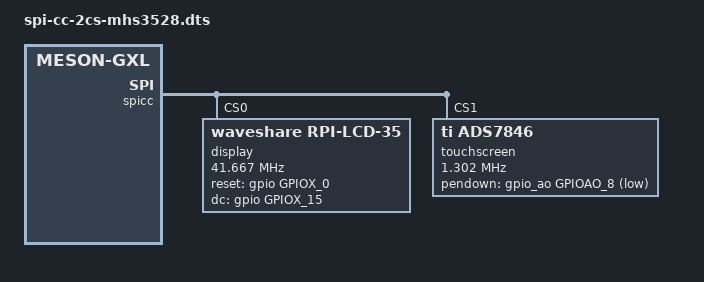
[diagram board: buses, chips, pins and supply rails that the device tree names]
// SPDX-License-Identifier: (GPL-2.0-or-later OR MIT)
/*
 * Copyright (c) 2022 Da Xue
 * Author: Da Xue <da@libre.computer>
 */
/*
 * Summary: spi-cc-2cs-mhs3528
 *
 * Pins (Header.Pin  Name  Pad  Ref — cross-ref gpio.map):
 *   7J1.11   GPIOAO_8*     F17     I2SOUT-CH23
 *   7J1.18   GPIOX_15      C7      UART_A_RTS_N
 *   7J1.22   GPIOX_0       A2      WIFI_SD_D0
 *
 * Requires: spi-cc-2cs
 *
 * Notes:
 * Display stack: tinydrm (DRM tiny / panel) preferred; staging fbtft is the
 * legacy fallback when both are built. Compatible order is tinydrm-first.
 * Properties tagged "fbtft/legacy" are ignored by tinydrm (CONFIG_FB_TFT_* only).
 */
/dts-v1/;
/plugin/;

#include <dt-bindings/gpio/gpio.h>
#include <dt-bindings/gpio/meson-gxl-gpio.h>
#include <dt-bindings/interrupt-controller/irq.h>
#include <dt-bindings/interrupt-controller/amlogic,meson-gxl-gpio-intc.h>

/ {
	compatible = "libre-computer,aml-s905x-cc",
		"libretech,aml-s905x-cc",
		"libre-computer,aml-s905x-cc-v2",
		"libretech,aml-s905x-cc-v2",
		"libre-computer,aml-s905x-cc-v3",
		"libretech,aml-s905x-cc-v3",
		"amlogic,s905x",
		"amlogic,meson-gxl";

	fragment@0 {
		target = <&cec_AO>;
		
		__overlay__ {
			status = "disabled";
		};
	};
	
	fragment@1 {
		target = <&pinctrl_aobus>;

		__overlay__ {
			xpt2046_pendown_pins: xpt2046-pendown-pins {
				mux {
					groups = "GPIOAO_8";
					function = "gpio_aobus";
					bias-pull-up;
					output-disable;
				};
			};
		};
	};

	fragment@2 {
		target = <&spicc>;
		
		__overlay__ {

			display@0 {
				compatible = "waveshare,rpi-lcd-35",	/* tinydrm: drm/tiny/ili9486 */
					"ilitek,ili9486";	/* fbtft/legacy: staging/fbtft/fb_ili9486 */
				reg = <0>;
				spi-max-frequency = <41666666>;
				reset-gpios = <&gpio GPIOX_0 GPIO_ACTIVE_HIGH>;
				dc-gpios = <&gpio GPIOX_15 GPIO_ACTIVE_HIGH>;
				status = "okay";
			};

			touchscreen@1 {
				compatible = "ti,ads7846";
				/*
				 * GPIOAO_8 is explicitly muxed to GPIO (gpio_aobus,
				 * function 0) by fragment@1 so pendown-gpio and the
				 * gpio_intc edge below do not depend on whatever mux
				 * the bootloader happened to leave. Selecting
				 * function 0 also clears the cec_ao bit on this pad,
				 * the function fragment@0 disables to free the pin.
				 */
				pinctrl-names = "default";
				pinctrl-0 = <&xpt2046_pendown_pins>;
				reg = <1>;
				spi-max-frequency = <1302084>;
				interrupt-parent = <&gpio_intc>;
				interrupts = <IRQID_GPIOAO_8 IRQ_TYPE_EDGE_FALLING>;
				pendown-gpio = <&gpio_ao GPIOAO_8 GPIO_ACTIVE_LOW>;
				ti,x-plate-ohms = /bits/ 16 <60>;
				ti,pressure-max = /bits/ 16 <255>;
				touchscreen-swapped-x-y;
				touchscreen-inverted-x;
				touchscreen-min-x = <180>;
				touchscreen-size-x = <3880>;
				touchscreen-min-y = <240>;
				touchscreen-size-y = <3940>;
				wakeup-source;
				status = "okay";
			};
		};
	};
};
